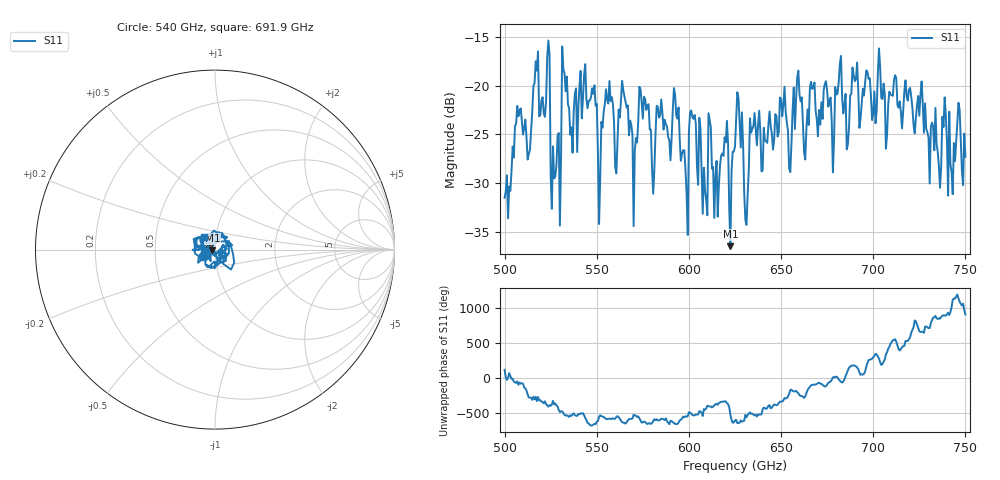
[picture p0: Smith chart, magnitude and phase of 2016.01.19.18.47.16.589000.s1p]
!Created with skrf (http://scikit-rf.org).
# GHz S RI R 50.0
!freq ReS11 ImS11
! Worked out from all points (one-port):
!   401 points, 500 GHz to 750 GHz, reference 50 ohm
!   lowest |S11| = -36.5 dB at 622.5 GHz (marker M1), VSWR 1.03, Z = 48.6 - j0.478 ohm
!   |S11| at or under -10 dB: start of sweep to end of sweep
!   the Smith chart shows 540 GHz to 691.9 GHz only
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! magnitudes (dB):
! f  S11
! 500 GHz  -31.5
! 507.5 GHz  -23.1
! 513.1 GHz  -27.0
! 516.9 GHz  -17.5
! 523.1 GHz  -17.0
! 526.2 GHz  -26.2
! 531.2 GHz  -15.9
! 548.8 GHz  -19.9
! 551.9 GHz  -29.4
! 555.6 GHz  -21.4
! 562.5 GHz  -23.3
! 570.6 GHz  -26.7
! 574.4 GHz  -21.7
! 580.6 GHz  -31.1
! 593.8 GHz  -23.4
! 598.1 GHz  -28.6
! 601.9 GHz  -23.2
! 608.8 GHz  -30.8
! 611.9 GHz  -24.3
! 622.5 GHz  -36.5
! 625 GHz  -26.2
! 627.5 GHz  -23.9
! 631.2 GHz  -34.3
! 634.4 GHz  -24.4
! 656.2 GHz  -22.5
! 687.5 GHz  -21.0
! 718.8 GHz  -21.5
! 750 GHz  -27.3
